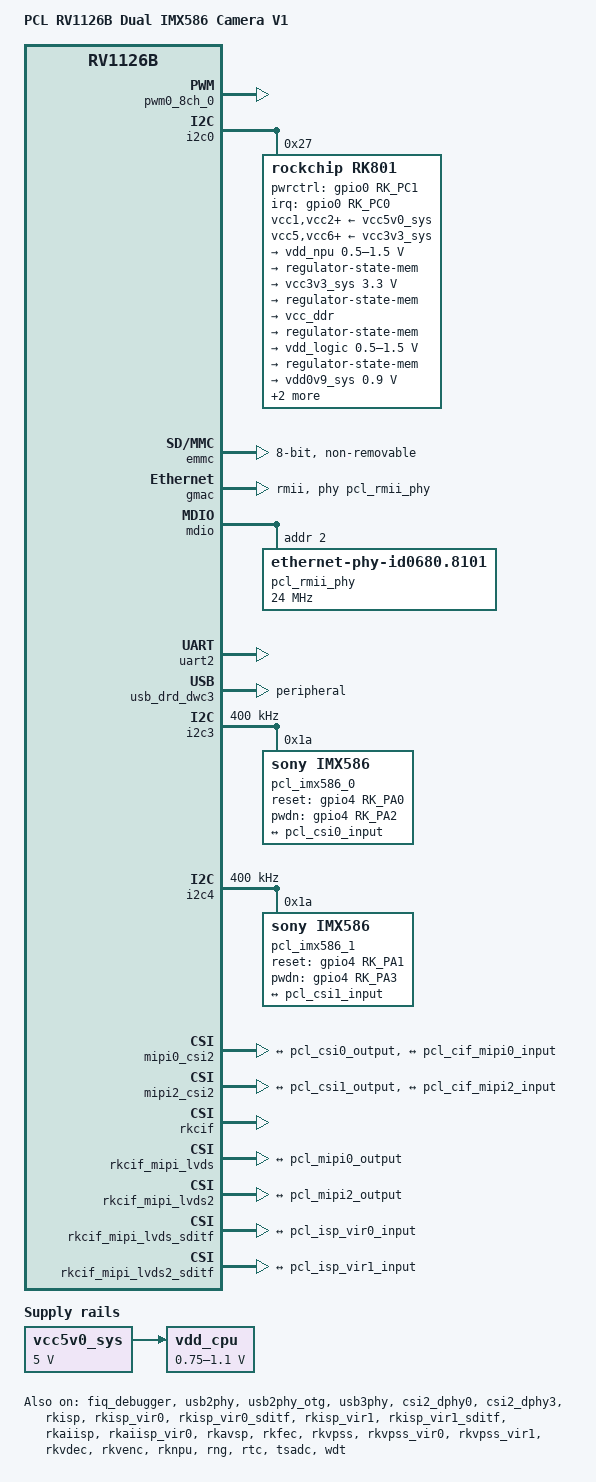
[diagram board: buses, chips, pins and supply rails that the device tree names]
// SPDX-License-Identifier: (GPL-2.0+ OR MIT)
/*
 * PCL dual-IMX586 RV1126B camera board, hardware revision V1.0.
 * Pin assignments are derived from the 2026-08-14 schematic and Allegro netlist.
 */

/dts-v1/;
#include "rv1126b.dtsi"

/ {
	model = "PCL RV1126B Dual IMX586 Camera V1";
	compatible = "pcl,rv1126b-camera-v1", "rockchip,rv1126b";

	chosen {
		bootargs = "earlycon=uart8250,mmio32,0x20810000 console=ttyFIQ0 rw root=PARTUUID=614e0000-0000 rootfstype=ext4 rootwait coherent_pool=32K clk_ignore_unused";
	};

	vcc5v0_sys: vcc5v0-sys {
		compatible = "regulator-fixed";
		regulator-name = "vcc5v0_sys";
		regulator-always-on;
		regulator-boot-on;
		regulator-min-microvolt = <5000000>;
		regulator-max-microvolt = <5000000>;
	};

	vdd_cpu: vdd-cpu {
		compatible = "pwm-regulator";
		pwms = <&pwm0_8ch_0 0 25000 1>;
		regulator-name = "vdd_cpu";
		regulator-init-microvolt = <950000>;
		regulator-min-microvolt = <750000>;
		regulator-max-microvolt = <1100000>;
		regulator-always-on;
		regulator-boot-on;
		pwm-supply = <&vcc5v0_sys>;
	};
};

&cpu0 {
	cpu-supply = <&vdd_cpu>;
};

&pwm0_8ch_0 {
	status = "okay";
};

&i2c0 {
	status = "okay";

	rk801: pmic@27 {
		compatible = "rockchip,rk801";
		reg = <0x27>;
		interrupt-parent = <&gpio0>;
		interrupts = <RK_PC0 IRQ_TYPE_LEVEL_LOW>;
		pwrctrl-gpios = <&gpio0 RK_PC1 GPIO_ACTIVE_HIGH>;
		pinctrl-names = "default", "pmic-reset";
		pinctrl-0 = <&pcl_pmic_int>;
		pinctrl-1 = <&pcl_soc_pwrctrl_reset>;
		rockchip,system-power-controller;
		wakeup-source;
		vcc1-supply = <&vcc5v0_sys>;
		vcc2-supply = <&vcc5v0_sys>;
		vcc3-supply = <&vcc5v0_sys>;
		vcc4-supply = <&vcc5v0_sys>;
		vcc5-supply = <&vcc3v3_sys>;
		vcc6-supply = <&vcc3v3_sys>;
		vcc7-supply = <&vcc3v3_sys>;
		status = "okay";

		regulators {
			vdd_npu: DCDC_REG1 {
				regulator-name = "vdd_npu";
				regulator-min-microvolt = <500000>;
				regulator-max-microvolt = <1500000>;
				regulator-initial-mode = <0x1>;
				regulator-boot-on;
				regulator-always-on;
				regulator-state-mem {
					regulator-mode = <0x2>;
					regulator-off-in-suspend;
					regulator-suspend-microvolt = <950000>;
				};
			};

			vcc3v3_sys: DCDC_REG2 {
				regulator-name = "vcc3v3_sys";
				regulator-min-microvolt = <3300000>;
				regulator-max-microvolt = <3300000>;
				regulator-initial-mode = <0x1>;
				regulator-boot-on;
				regulator-always-on;
				regulator-state-mem {
					regulator-mode = <0x2>;
					regulator-on-in-suspend;
					regulator-suspend-microvolt = <3300000>;
				};
			};

			vcc_ddr: DCDC_REG3 {
				regulator-name = "vcc_ddr";
				regulator-boot-on;
				regulator-always-on;
				regulator-state-mem {
					regulator-mode = <0x2>;
					regulator-on-in-suspend;
				};
			};

			vdd_logic: DCDC_REG4 {
				regulator-name = "vdd_logic";
				regulator-min-microvolt = <500000>;
				regulator-max-microvolt = <1500000>;
				regulator-initial-mode = <0x1>;
				regulator-boot-on;
				regulator-always-on;
				regulator-state-mem {
					regulator-mode = <0x2>;
					regulator-off-in-suspend;
					regulator-suspend-microvolt = <900000>;
				};
			};

			vdd0v9_sys: LDO_REG1 {
				regulator-name = "vdd0v9_sys";
				regulator-min-microvolt = <900000>;
				regulator-max-microvolt = <900000>;
				regulator-boot-on;
				regulator-always-on;
			};

			vcc_1v8: LDO_REG2 {
				regulator-name = "vcc_1v8";
				regulator-min-microvolt = <1800000>;
				regulator-max-microvolt = <1800000>;
				regulator-boot-on;
				regulator-always-on;
			};

			vcc_3v3: SWITCH_REG {
				regulator-name = "vcc_3v3";
				regulator-boot-on;
				regulator-always-on;
			};
		};
	};
};

&pinctrl {
	pcl-pmic {
		pcl_pmic_int: pmic-int {
			rockchip,pins = <0 RK_PC0 RK_FUNC_GPIO &pcfg_pull_up>;
		};

		pcl_soc_pwrctrl_reset: soc-pwrctrl-reset {
			rockchip,pins = <0 RK_PC1 RK_FUNC_GPIO &pcfg_output_high>;
		};
	};
};

&emmc {
	bus-width = <8>;
	cap-mmc-highspeed;
	non-removable;
	/delete-property/ mmc-hs200-1_8v;
	max-frequency = <50000000>;
	rockchip,default-sample-phase = <90>;
	no-sdio;
	no-sd;
	status = "okay";
};

&fiq_debugger {
	status = "okay";
};

&gmac {
	phy-mode = "rmii";
	clock_in_out = "input";
	phy-handle = <&pcl_rmii_phy>;
	status = "okay";
};

&mdio {
	pcl_rmii_phy: ethernet-phy@2 {
		compatible = "ethernet-phy-id0680.8101",
			     "ethernet-phy-ieee802.3-c22";
		reg = <2>;
		rockchip,macphy = <&macphy>;
		clocks = <&cru CLK_MACPHY>, <&cru PCLK_MACPHY>;
		clock-names = "clk", "pclk";
		clock-frequency = <24000000>;
		resets = <&cru SRST_RESETN_MACPHY>;
		pinctrl-names = "default";
		pinctrl-0 = <&fephym2_pins>;
		nvmem-cells = <&macphy_txamp>, <&macphy_adc_offset>;
		nvmem-cell-names = "txamp", "adc_offset";
		phy-is-integrated;
	};
};

&uart2 {
	pinctrl-names = "default";
	pinctrl-0 = <&uart2m0_xfer_pins>;
	status = "okay";
};

&usb2phy {
	status = "okay";
};

&usb2phy_otg {
	status = "okay";
};

&usb2phy_host {
	status = "disabled";
};

&usb3phy {
	status = "okay";
};

&usb_drd_dwc3 {
	dr_mode = "peripheral";
	maximum-speed = "super-speed";
	status = "okay";
};

&usb_host_ehci {
	status = "disabled";
};

&usb_host_ohci {
	status = "disabled";
};

&csi2_dphy0 {
	status = "okay";

	ports {
		#address-cells = <1>;
		#size-cells = <0>;

		port@0 {
			reg = <0>;
			#address-cells = <1>;
			#size-cells = <0>;

			pcl_csi0_input: endpoint@1 {
				reg = <1>;
				remote-endpoint = <&pcl_imx586_0_out>;
				data-lanes = <1 2 3 4>;
			};
		};

		port@1 {
			reg = <1>;
			#address-cells = <1>;
			#size-cells = <0>;

			pcl_csi0_output: endpoint@0 {
				reg = <0>;
				remote-endpoint = <&pcl_mipi0_input>;
			};
		};
	};
};

&csi2_dphy3 {
	status = "okay";

	ports {
		#address-cells = <1>;
		#size-cells = <0>;

		port@0 {
			reg = <0>;
			#address-cells = <1>;
			#size-cells = <0>;

			pcl_csi1_input: endpoint@1 {
				reg = <1>;
				remote-endpoint = <&pcl_imx586_1_out>;
				data-lanes = <1 2 3 4>;
			};
		};

		port@1 {
			reg = <1>;
			#address-cells = <1>;
			#size-cells = <0>;

			pcl_csi1_output: endpoint@0 {
				reg = <0>;
				remote-endpoint = <&pcl_mipi2_input>;
			};
		};
	};
};

&i2c3 {
	clock-frequency = <400000>;
	pinctrl-names = "default";
	pinctrl-0 = <&i2c3m1_pins>;
	status = "okay";

	pcl_imx586_0: camera@1a {
		compatible = "sony,imx586";
		reg = <0x1a>;
		clocks = <&cru CLK_MIPI0_OUT2IO>;
		clock-names = "xvclk";
		reset-gpios = <&gpio4 RK_PA0 GPIO_ACTIVE_HIGH>;
		pwdn-gpios = <&gpio4 RK_PA2 GPIO_ACTIVE_HIGH>;
		pinctrl-names = "default";
		pinctrl-0 = <&cam_clk0_pins>;
		rockchip,camera-module-index = <0>;
		rockchip,camera-module-facing = "back";
		rockchip,camera-module-name = "IMX586-CAM0";
		rockchip,camera-module-lens-name = "custom";

		port {
			pcl_imx586_0_out: endpoint {
				remote-endpoint = <&pcl_csi0_input>;
				data-lanes = <1 2 3 4>;
			};
		};
	};
};

&i2c4 {
	clock-frequency = <400000>;
	pinctrl-names = "default";
	pinctrl-0 = <&i2c4m2_pins>;
	status = "okay";

	pcl_imx586_1: camera@1a {
		compatible = "sony,imx586";
		reg = <0x1a>;
		clocks = <&cru CLK_MIPI1_OUT2IO>;
		clock-names = "xvclk";
		reset-gpios = <&gpio4 RK_PA1 GPIO_ACTIVE_HIGH>;
		pwdn-gpios = <&gpio4 RK_PA3 GPIO_ACTIVE_HIGH>;
		pinctrl-names = "default";
		pinctrl-0 = <&cam_clk1_pins>;
		rockchip,camera-module-index = <1>;
		rockchip,camera-module-facing = "back";
		rockchip,camera-module-name = "IMX586-CAM1";
		rockchip,camera-module-lens-name = "custom";

		port {
			pcl_imx586_1_out: endpoint {
				remote-endpoint = <&pcl_csi1_input>;
				data-lanes = <1 2 3 4>;
			};
		};
	};
};

&mipi0_csi2 {
	status = "okay";

	ports {
		#address-cells = <1>;
		#size-cells = <0>;

		port@0 {
			reg = <0>;
			#address-cells = <1>;
			#size-cells = <0>;

			pcl_mipi0_input: endpoint@1 {
				reg = <1>;
				remote-endpoint = <&pcl_csi0_output>;
			};
		};

		port@1 {
			reg = <1>;
			#address-cells = <1>;
			#size-cells = <0>;

			pcl_mipi0_output: endpoint@0 {
				reg = <0>;
				remote-endpoint = <&pcl_cif_mipi0_input>;
			};
		};
	};
};

&mipi2_csi2 {
	status = "okay";

	ports {
		#address-cells = <1>;
		#size-cells = <0>;

		port@0 {
			reg = <0>;
			#address-cells = <1>;
			#size-cells = <0>;

			pcl_mipi2_input: endpoint@1 {
				reg = <1>;
				remote-endpoint = <&pcl_csi1_output>;
			};
		};

		port@1 {
			reg = <1>;
			#address-cells = <1>;
			#size-cells = <0>;

			pcl_mipi2_output: endpoint@0 {
				reg = <0>;
				remote-endpoint = <&pcl_cif_mipi2_input>;
			};
		};
	};
};

&rkcif {
	status = "okay";
};

&rkcif_mipi_lvds {
	status = "okay";

	port {
		pcl_cif_mipi0_input: endpoint {
			remote-endpoint = <&pcl_mipi0_output>;
		};
	};
};

&rkcif_mipi_lvds2 {
	status = "okay";

	port {
		pcl_cif_mipi2_input: endpoint {
			remote-endpoint = <&pcl_mipi2_output>;
		};
	};
};

&rkcif_mipi_lvds_sditf {
	status = "okay";

	port {
		pcl_cif0_sditf: endpoint {
			remote-endpoint = <&pcl_isp_vir0_input>;
		};
	};
};

&rkcif_mipi_lvds2_sditf {
	status = "okay";

	port {
		pcl_cif1_sditf: endpoint {
			remote-endpoint = <&pcl_isp_vir1_input>;
		};
	};
};

&rkcif_mmu {
	status = "okay";
};

&rkisp {
	status = "okay";
};

&rkisp_mmu {
	status = "okay";
};

&rkisp_vir0 {
	status = "okay";

	port {
		#address-cells = <1>;
		#size-cells = <0>;

		pcl_isp_vir0_input: endpoint@0 {
			reg = <0>;
			remote-endpoint = <&pcl_cif0_sditf>;
		};
	};
};

&rkisp_vir0_sditf {
	status = "okay";
};

&rkisp_vir1 {
	status = "okay";

	port {
		#address-cells = <1>;
		#size-cells = <0>;

		pcl_isp_vir1_input: endpoint@0 {
			reg = <0>;
			remote-endpoint = <&pcl_cif1_sditf>;
		};
	};
};

&rkisp_vir1_sditf {
	status = "okay";
};

&rkaiisp {
	status = "okay";
};

&rkaiisp_mmu {
	status = "okay";
};

&rkaiisp_vir0 {
	status = "okay";
};

&rkavsp {
	status = "okay";
};

&rkavsp_mmu {
	status = "okay";
};

&rkfec {
	status = "okay";
};

&rkfec_mmu {
	status = "okay";
};

&rkvpss {
	dvbm = <&rkdvbm>;
	status = "okay";
};

&rkvpss_mmu {
	status = "okay";
};

&rkvpss_vir0 {
	status = "okay";
};

&rkvpss_vir1 {
	status = "okay";
};

&rkvdec {
	status = "okay";
};

&rkvdec_mmu {
	status = "okay";
};

&rkvenc {
	venc-supply = <&vdd_logic>;
	status = "okay";
};

&rkvenc_mmu {
	status = "okay";
};

&rknpu {
	rknpu-supply = <&vdd_npu>;
	status = "okay";
};

&rng {
	status = "okay";
};

&rtc {
	rockchip,rtc-suspend-bypass;
	status = "okay";
};

&tsadc {
	status = "okay";
};

&wdt {
	status = "okay";
};
